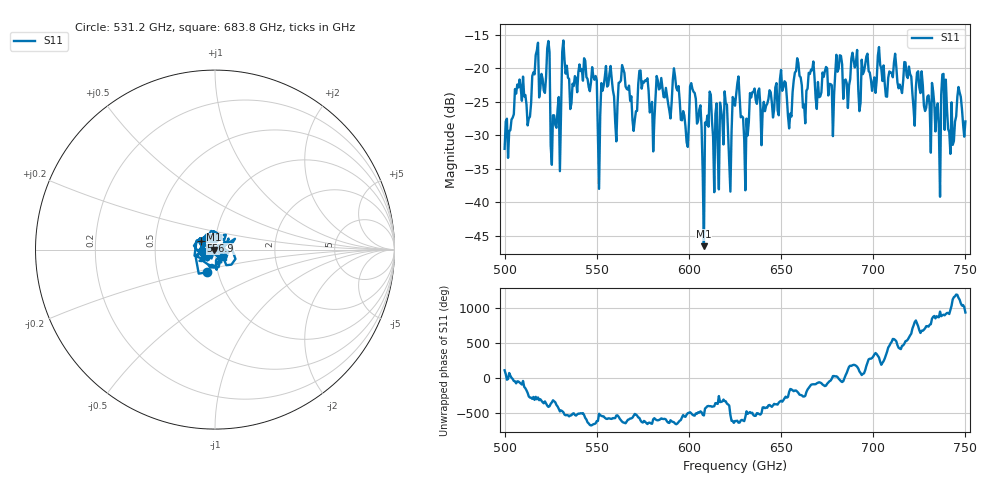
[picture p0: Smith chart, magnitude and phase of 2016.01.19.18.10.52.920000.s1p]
!Created with skrf (http://scikit-rf.org).
# GHz S RI R 50.0
!freq ReS11 ImS11
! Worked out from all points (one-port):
!   401 points, 500 GHz to 750 GHz, reference 50 ohm
!   lowest |S11| = -46.5 dB at 608.1 GHz (marker M1), VSWR 1.01, Z = 49.5 - j0.0796 ohm
!   |S11| at or under -10 dB: start of sweep to end of sweep
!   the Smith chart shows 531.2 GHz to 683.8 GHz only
!   S11 on the Smith chart (normalised r, x): 531.2 GHz: 0.89, -0.23; 556.9 GHz: 0.85, +0.08; 683.8 GHz: 1.09, -0.09
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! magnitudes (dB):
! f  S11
! 500 GHz  -32.0
! 506.9 GHz  -22.4
! 513.1 GHz  -27.5
! 516.9 GHz  -18.0
! 523.1 GHz  -17.0
! 526.2 GHz  -27.0
! 531.2 GHz  -17.5
! 548.8 GHz  -21.7
! 551.9 GHz  -27.0
! 556.9 GHz  -20.8
! 562.5 GHz  -22.1
! 570.6 GHz  -27.7
! 593.8 GHz  -23.3
! 598.8 GHz  -31.0
! 602.5 GHz  -23.5
! 608.1 GHz  -46.5
! 610.6 GHz  -28.7
! 621.9 GHz  -34.0
! 625 GHz  -25.6
! 631.2 GHz  -27.5
! 634.4 GHz  -23.6
! 656.2 GHz  -23.5
! 683.8 GHz  -24.5
! 687.5 GHz  -21.6
! 718.8 GHz  -21.4
! 735 GHz  -25.2
! 738.1 GHz  -20.8
! 750 GHz  -27.9
